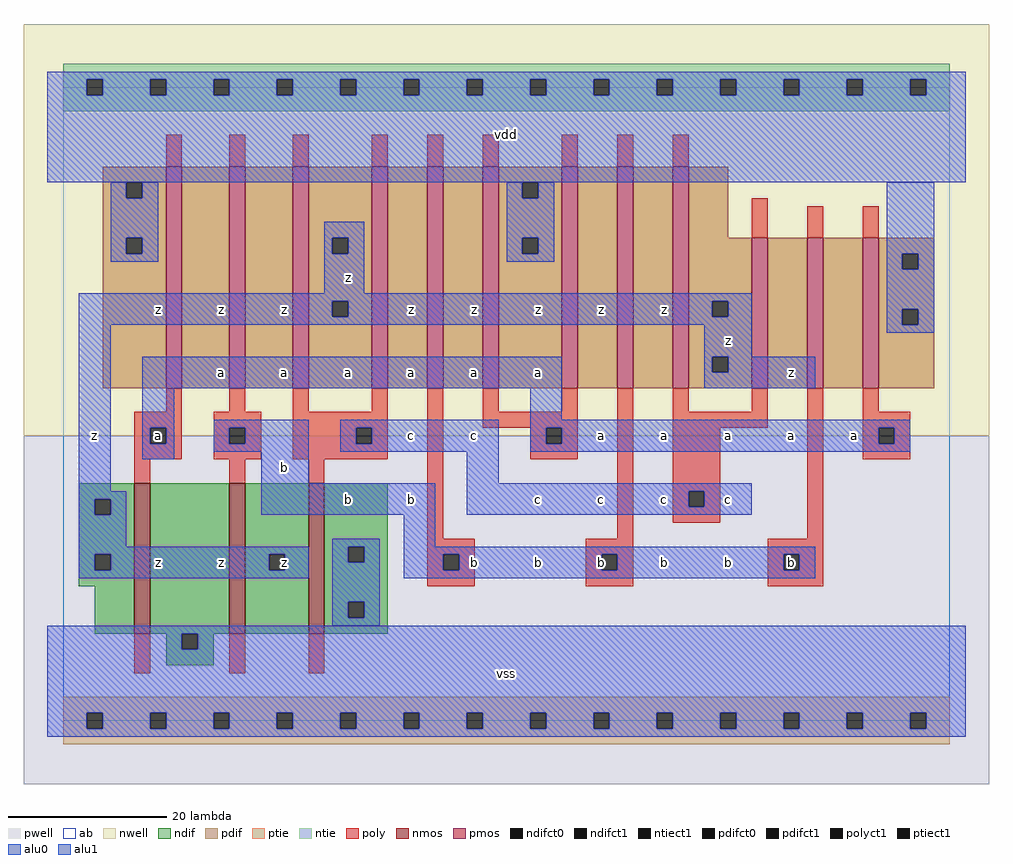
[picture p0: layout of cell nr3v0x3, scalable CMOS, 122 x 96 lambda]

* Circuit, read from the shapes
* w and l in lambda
.subckt nr3v0x3 a b c vdd vss z
M1 vss a z vss nfet w=19 l=2
M2 z b vss vss nfet w=19 l=2
M3 vss c z vss nfet w=19 l=2
M4 n1 a vdd vdd pfet w=28 l=2
M5 n2 b n1 vdd pfet w=28 l=2
M6 z c n2 vdd pfet w=28 l=2
M7 n3 c z vdd pfet w=28 l=2
M8 n4 b n3 vdd pfet w=28 l=2
M9 vdd a n4 vdd pfet w=28 l=2
M10 n5 a vdd vdd pfet w=28 l=2
M11 n6 b n5 vdd pfet w=28 l=2
M12 z c n6 vdd pfet w=28 l=2
M13 n7 c z vdd pfet w=19 l=2
M14 n8 b n7 vdd pfet w=19 l=2
M15 vdd a n8 vdd pfet w=19 l=2
.ends

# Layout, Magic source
magic
tech scmos
<< ab >>
rect 0 0 112 80
<< nwell >>
rect -5 36 117 88
<< pwell >>
rect -5 -8 117 36
<< poly >>
rect 13 70 15 74
rect 21 70 23 74
rect 29 70 31 74
rect 39 70 41 74
rect 46 70 48 74
rect 53 70 55 74
rect 63 70 65 74
rect 70 70 72 74
rect 77 70 79 74
rect 87 61 89 66
rect 94 61 96 65
rect 101 61 103 65
rect 13 39 15 42
rect 21 39 23 42
rect 29 39 31 42
rect 39 39 41 42
rect 9 37 15 39
rect 9 35 11 37
rect 13 35 15 37
rect 9 33 15 35
rect 19 37 25 39
rect 19 35 21 37
rect 23 35 25 37
rect 19 33 25 35
rect 29 37 41 39
rect 29 35 37 37
rect 39 35 41 37
rect 29 33 41 35
rect 9 30 11 33
rect 21 30 23 33
rect 31 30 33 33
rect 46 23 48 42
rect 53 39 55 42
rect 63 39 65 42
rect 53 37 65 39
rect 59 35 61 37
rect 63 35 65 37
rect 59 33 65 35
rect 70 23 72 42
rect 77 39 79 42
rect 87 39 89 42
rect 77 37 89 39
rect 77 29 83 37
rect 77 27 79 29
rect 81 27 83 29
rect 77 25 83 27
rect 94 23 96 42
rect 101 39 103 42
rect 101 37 107 39
rect 101 35 103 37
rect 105 35 107 37
rect 101 33 107 35
rect 46 21 52 23
rect 46 19 48 21
rect 50 19 52 21
rect 46 17 52 19
rect 66 21 72 23
rect 66 19 68 21
rect 70 19 72 21
rect 66 17 72 19
rect 89 21 96 23
rect 89 19 91 21
rect 93 19 96 21
rect 89 17 96 19
rect 9 6 11 11
rect 21 6 23 11
rect 31 6 33 11
<< ndif >>
rect 2 28 9 30
rect 2 26 4 28
rect 6 26 9 28
rect 2 21 9 26
rect 2 19 4 21
rect 6 19 9 21
rect 2 17 9 19
rect 4 11 9 17
rect 11 11 21 30
rect 23 21 31 30
rect 23 19 26 21
rect 28 19 31 21
rect 23 11 31 19
rect 33 22 41 30
rect 33 20 36 22
rect 38 20 41 22
rect 33 15 41 20
rect 33 13 36 15
rect 38 13 41 15
rect 33 11 41 13
rect 13 9 15 11
rect 17 9 19 11
rect 13 7 19 9
<< pdif >>
rect 5 68 13 70
rect 5 66 8 68
rect 10 66 13 68
rect 5 61 13 66
rect 5 59 8 61
rect 10 59 13 61
rect 5 42 13 59
rect 15 42 21 70
rect 23 42 29 70
rect 31 61 39 70
rect 31 59 34 61
rect 36 59 39 61
rect 31 53 39 59
rect 31 51 34 53
rect 36 51 39 53
rect 31 42 39 51
rect 41 42 46 70
rect 48 42 53 70
rect 55 68 63 70
rect 55 66 58 68
rect 60 66 63 68
rect 55 61 63 66
rect 55 59 58 61
rect 60 59 63 61
rect 55 42 63 59
rect 65 42 70 70
rect 72 42 77 70
rect 79 61 84 70
rect 79 53 87 61
rect 79 51 82 53
rect 84 51 87 53
rect 79 46 87 51
rect 79 44 82 46
rect 84 44 87 46
rect 79 42 87 44
rect 89 42 94 61
rect 96 42 101 61
rect 103 59 110 61
rect 103 57 106 59
rect 108 57 110 59
rect 103 52 110 57
rect 103 50 106 52
rect 108 50 110 52
rect 103 42 110 50
<< alu1 >>
rect -2 81 114 82
rect -2 79 3 81
rect 5 79 11 81
rect 13 79 19 81
rect 21 79 27 81
rect 29 79 35 81
rect 37 79 43 81
rect 45 79 51 81
rect 53 79 59 81
rect 61 79 67 81
rect 69 79 75 81
rect 77 79 83 81
rect 85 79 91 81
rect 93 79 99 81
rect 101 79 107 81
rect 109 79 114 81
rect -2 68 114 79
rect 33 61 38 63
rect 33 59 34 61
rect 36 59 38 61
rect 33 54 38 59
rect 2 53 87 54
rect 2 51 34 53
rect 36 51 82 53
rect 84 51 87 53
rect 2 50 87 51
rect 2 29 6 50
rect 81 46 87 50
rect 10 42 63 46
rect 81 44 82 46
rect 84 44 95 46
rect 81 42 95 44
rect 10 37 14 42
rect 59 38 63 42
rect 10 35 11 37
rect 13 35 14 37
rect 10 33 14 35
rect 19 37 31 38
rect 19 35 21 37
rect 23 35 31 37
rect 19 34 31 35
rect 35 37 55 38
rect 35 35 37 37
rect 39 35 55 37
rect 35 34 55 35
rect 59 37 107 38
rect 59 35 61 37
rect 63 35 103 37
rect 105 35 107 37
rect 59 34 107 35
rect 25 30 31 34
rect 51 30 55 34
rect 2 28 8 29
rect 2 26 4 28
rect 6 26 8 28
rect 25 26 47 30
rect 51 29 87 30
rect 51 27 79 29
rect 81 27 87 29
rect 51 26 87 27
rect 2 22 8 26
rect 2 21 31 22
rect 2 19 4 21
rect 6 19 26 21
rect 28 19 31 21
rect 2 18 31 19
rect 43 22 47 26
rect 43 21 95 22
rect 43 19 48 21
rect 50 19 68 21
rect 70 19 91 21
rect 93 19 95 21
rect 43 18 95 19
rect -2 11 114 12
rect -2 9 15 11
rect 17 9 114 11
rect -2 1 114 9
rect -2 -1 3 1
rect 5 -1 11 1
rect 13 -1 19 1
rect 21 -1 27 1
rect 29 -1 35 1
rect 37 -1 43 1
rect 45 -1 51 1
rect 53 -1 59 1
rect 61 -1 67 1
rect 69 -1 75 1
rect 77 -1 83 1
rect 85 -1 91 1
rect 93 -1 99 1
rect 101 -1 107 1
rect 109 -1 114 1
rect -2 -2 114 -1
<< ptie >>
rect 0 1 112 3
rect 0 -1 3 1
rect 5 -1 11 1
rect 13 -1 19 1
rect 21 -1 27 1
rect 29 -1 35 1
rect 37 -1 43 1
rect 45 -1 51 1
rect 53 -1 59 1
rect 61 -1 67 1
rect 69 -1 75 1
rect 77 -1 83 1
rect 85 -1 91 1
rect 93 -1 99 1
rect 101 -1 107 1
rect 109 -1 112 1
rect 0 -3 112 -1
<< ntie >>
rect 0 81 112 83
rect 0 79 3 81
rect 5 79 11 81
rect 13 79 19 81
rect 21 79 27 81
rect 29 79 35 81
rect 37 79 43 81
rect 45 79 51 81
rect 53 79 59 81
rect 61 79 67 81
rect 69 79 75 81
rect 77 79 83 81
rect 85 79 91 81
rect 93 79 99 81
rect 101 79 107 81
rect 109 79 112 81
rect 0 77 112 79
<< nmos >>
rect 9 11 11 30
rect 21 11 23 30
rect 31 11 33 30
<< pmos >>
rect 13 42 15 70
rect 21 42 23 70
rect 29 42 31 70
rect 39 42 41 70
rect 46 42 48 70
rect 53 42 55 70
rect 63 42 65 70
rect 70 42 72 70
rect 77 42 79 70
rect 87 42 89 61
rect 94 42 96 61
rect 101 42 103 61
<< polyct1 >>
rect 11 35 13 37
rect 21 35 23 37
rect 37 35 39 37
rect 61 35 63 37
rect 79 27 81 29
rect 103 35 105 37
rect 48 19 50 21
rect 68 19 70 21
rect 91 19 93 21
<< ndifct0 >>
rect 36 20 38 22
rect 36 13 38 15
<< ndifct1 >>
rect 4 26 6 28
rect 4 19 6 21
rect 26 19 28 21
rect 15 9 17 11
<< ntiect1 >>
rect 3 79 5 81
rect 11 79 13 81
rect 19 79 21 81
rect 27 79 29 81
rect 35 79 37 81
rect 43 79 45 81
rect 51 79 53 81
rect 59 79 61 81
rect 67 79 69 81
rect 75 79 77 81
rect 83 79 85 81
rect 91 79 93 81
rect 99 79 101 81
rect 107 79 109 81
<< ptiect1 >>
rect 3 -1 5 1
rect 11 -1 13 1
rect 19 -1 21 1
rect 27 -1 29 1
rect 35 -1 37 1
rect 43 -1 45 1
rect 51 -1 53 1
rect 59 -1 61 1
rect 67 -1 69 1
rect 75 -1 77 1
rect 83 -1 85 1
rect 91 -1 93 1
rect 99 -1 101 1
rect 107 -1 109 1
<< pdifct0 >>
rect 8 66 10 68
rect 8 59 10 61
rect 58 66 60 68
rect 58 59 60 61
rect 106 57 108 59
rect 106 50 108 52
<< pdifct1 >>
rect 34 59 36 61
rect 34 51 36 53
rect 82 51 84 53
rect 82 44 84 46
<< alu0 >>
rect 6 66 8 68
rect 10 66 12 68
rect 6 61 12 66
rect 56 66 58 68
rect 60 66 62 68
rect 6 59 8 61
rect 10 59 12 61
rect 6 58 12 59
rect 56 61 62 66
rect 56 59 58 61
rect 60 59 62 61
rect 56 58 62 59
rect 104 59 110 68
rect 104 57 106 59
rect 108 57 110 59
rect 104 52 110 57
rect 104 50 106 52
rect 108 50 110 52
rect 104 49 110 50
rect 34 22 40 23
rect 34 20 36 22
rect 38 20 40 22
rect 34 15 40 20
rect 34 13 36 15
rect 38 13 40 15
rect 34 12 40 13
<< labels >>
rlabel alu1 12 20 12 20 6 z
rlabel polyct1 12 36 12 36 6 a
rlabel alu1 4 36 4 36 6 z
rlabel alu1 12 52 12 52 6 z
rlabel alu1 20 20 20 20 6 z
rlabel alu1 36 28 36 28 6 b
rlabel alu1 28 20 28 20 6 z
rlabel alu1 28 32 28 32 6 b
rlabel alu1 20 44 20 44 6 a
rlabel alu1 36 44 36 44 6 a
rlabel alu1 28 44 28 44 6 a
rlabel alu1 28 52 28 52 6 z
rlabel alu1 20 52 20 52 6 z
rlabel alu1 36 56 36 56 6 z
rlabel alu1 56 6 56 6 6 vss
rlabel alu1 44 28 44 28 6 b
rlabel alu1 60 28 60 28 6 c
rlabel alu1 60 20 60 20 6 b
rlabel alu1 52 20 52 20 6 b
rlabel alu1 44 44 44 44 6 a
rlabel alu1 44 36 44 36 6 c
rlabel alu1 60 44 60 44 6 a
rlabel alu1 52 44 52 44 6 a
rlabel alu1 52 36 52 36 6 c
rlabel alu1 60 52 60 52 6 z
rlabel alu1 52 52 52 52 6 z
rlabel alu1 44 52 44 52 6 z
rlabel alu1 56 74 56 74 6 vdd
rlabel alu1 68 28 68 28 6 c
rlabel alu1 68 20 68 20 6 b
rlabel alu1 84 28 84 28 6 c
rlabel alu1 84 20 84 20 6 b
rlabel alu1 76 28 76 28 6 c
rlabel alu1 76 20 76 20 6 b
rlabel alu1 68 36 68 36 6 a
rlabel alu1 84 36 84 36 6 a
rlabel alu1 76 36 76 36 6 a
rlabel alu1 84 48 84 48 6 z
rlabel alu1 76 52 76 52 6 z
rlabel alu1 68 52 68 52 6 z
rlabel polyct1 92 20 92 20 6 b
rlabel alu1 92 44 92 44 6 z
rlabel alu1 92 36 92 36 6 a
rlabel alu1 100 36 100 36 6 a
<< end >>
